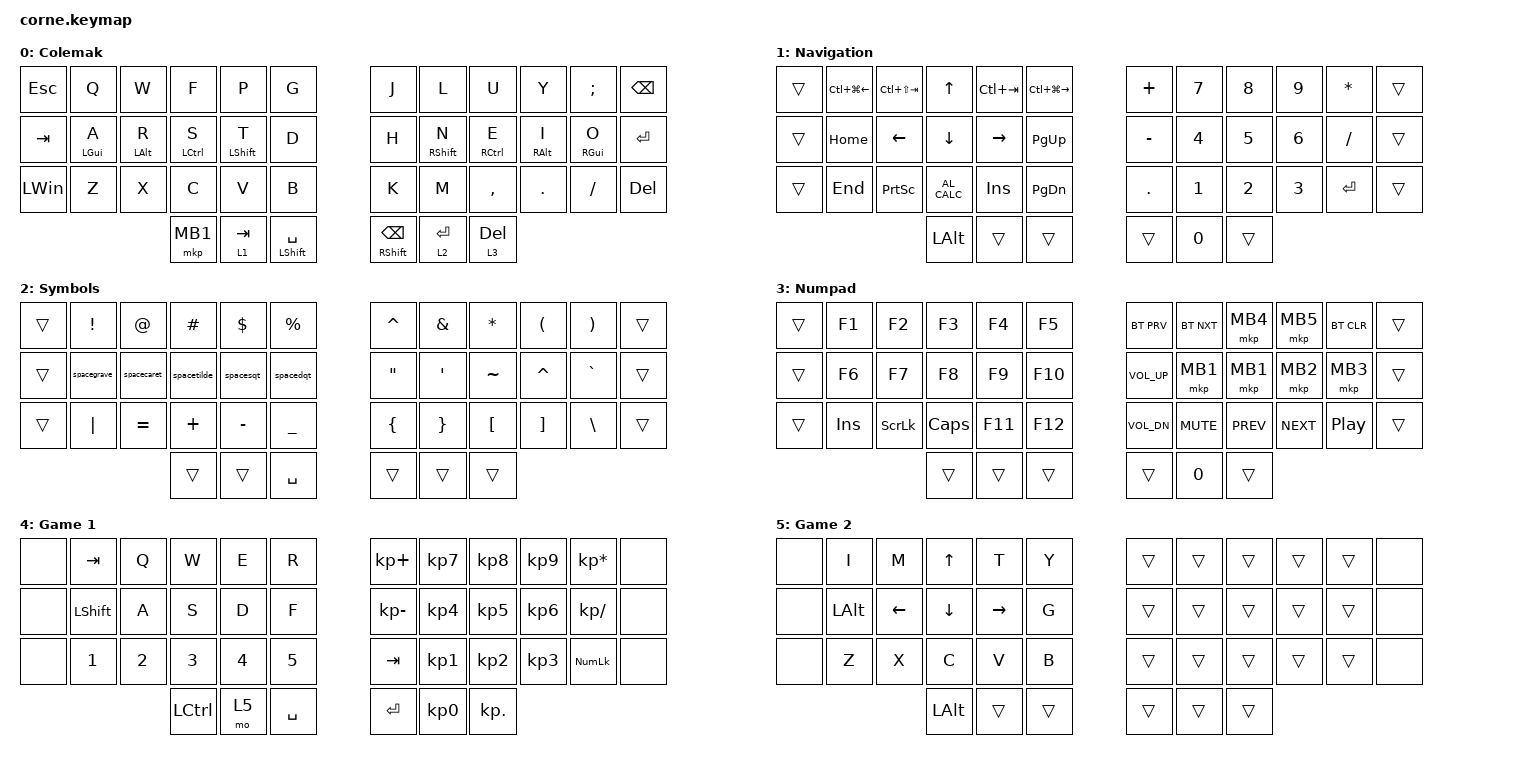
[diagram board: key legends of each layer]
/*
 * Copyright (c) 2020 The ZMK Contributors
 *
 * SPDX-License-Identifier: MIT
 */

#include <dt-bindings/zmk/mouse.h>
#include <behaviors.dtsi>
#include <dt-bindings/zmk/bt.h>
#include <dt-bindings/zmk/keys.h>
#include <dt-bindings/zmk/pointing.h>

&lt { flavor = "hold-preferred"; };

/ {
    behaviors {
        hm: homerow_mods {
            compatible = "zmk,behavior-hold-tap";
            label = "HOMEROW_MODS";
            #binding-cells = <2>;
            tapping-term-ms = <280>;
            quick-tap-ms = <80>;
            flavor = "tap-preferred";
            bindings = <&kp>, <&kp>;
        };

        tm: thumb_mods {
            compatible = "zmk,behavior-hold-tap";
            label = "THUMB_MODS";
            #binding-cells = <2>;
            tapping-term-ms = <200>;
            quick-tap-ms = <0>;
            flavor = "balanced";
            bindings = <&kp>, <&kp>;
        };
    };

    combos {
        compatible = "zmk,combos";

        game1_layer {
            bindings = <&tog 4>;
            key-positions = <1 25>;
            layers = <0 1 2>;
        };

        default_layer {
            bindings = <&to 0>;
            key-positions = <1 25>;
            layers = <4 5>;
        };

        caps_lock {
            bindings = <&kp CAPS>;
            key-positions = <5 6>;
        };

        alt_f4 {
            bindings = <&kp LA(F4)>;
            key-positions = <9 10 8 7>;
            layers = <0 1 2>;
        };

        caps_word {
            bindings = <&caps_word>;
            key-positions = <38 39>;
        };

        backspace {
            bindings = <&kp BSPC>;
            key-positions = <4 5>;
        };

        delete {
            bindings = <&kp DEL>;
            key-positions = <16 17>;
        };

        enter {
            bindings = <&kp RET>;
            key-positions = <29 28>;
        };

        esc {
            bindings = <&kp ESC>;
            key-positions = <1 2>;
            layers = <4 5>;
            slow-release;
        };

        caps {
            bindings = <&kp CAPS>;
            key-positions = <25 26>;
            layers = <4>;
        };
    };

    macros {
        spacedqt: spacedqt {
            compatible = "zmk,behavior-macro";
            label = "spacedqt";
            #binding-cells = <0>;
            bindings = <&kp DQT &kp SPACE>;
        };

        spacesqt: spacesqt {
            compatible = "zmk,behavior-macro";
            label = "spacesqt";
            #binding-cells = <0>;
            bindings = <&kp SQT &kp SPACE>;
        };

        spacetilde: spacetilde {
            compatible = "zmk,behavior-macro";
            label = "spacetilde";
            #binding-cells = <0>;
            bindings = <&kp TILDE &kp SPACE>;
        };

        spacecaret: spacecaret {
            compatible = "zmk,behavior-macro";
            label = "spacecaret";
            #binding-cells = <0>;
            bindings = <&kp CARET &kp SPACE>;
        };

        spacegrave: spacegrave {
            compatible = "zmk,behavior-macro";
            label = "spacegrave";
            #binding-cells = <0>;
            bindings = <&kp GRAVE &kp SPACE>;
        };
    };

    keymap {
        compatible = "zmk,keymap";

        Colemak {
            label = "Colemak";
            bindings = <
&kp ESC   &kp Q       &kp W       &kp F        &kp P        &kp G               &kp J                 &kp L        &kp U        &kp Y       &kp SEMI    &kp BSPC
&kp TAB   &hm LGUI A  &hm LALT R  &hm LCTRL S  &hm LSHFT T  &kp D               &kp H                 &hm RSHFT N  &hm RCTRL E  &hm RALT I  &hm RGUI O  &kp RET
&kp LWIN  &kp Z       &kp X       &kp C        &kp V        &kp B               &kp K                 &kp M        &kp COMMA    &kp DOT     &kp FSLH    &kp DEL
                                  &mkp MB1     &lt 1 TAB    &mt LSHIFT SPACE    &mt RSHIFT BACKSPACE  &lt 2 RET    &lt 3 DEL
            >;
        };

        Navigation {
            label = "Navigation";
            bindings = <
&trans  &kp LC(LG(LEFT))  &kp LC(LS(TAB))  &kp UP         &kp LC(TAB)  &kp LC(LG(RIGHT))    &kp PLUS   &kp N7  &kp N8        &kp N9  &kp ASTRK  &trans
&trans  &kp HOME          &kp LEFT         &kp DOWN       &kp RIGHT    &kp PG_UP            &kp MINUS  &kp N4  &kp NUMBER_5  &kp N6  &kp SLASH  &trans
&trans  &kp END           &kp PSCRN        &kp C_AL_CALC  &kp INS      &kp PAGE_DOWN        &kp DOT    &kp N1  &kp N2        &kp N3  &kp RET    &trans
                                           &kp LEFT_ALT   &trans       &trans               &trans     &kp N0  &trans
            >;
        };

        Symbols {
            label = "Symbols";
            bindings = <
&trans  &kp EXCL     &kp AT       &kp HASH     &kp DLLR   &kp PRCNT    &kp CARET  &kp AMPS  &kp STAR   &kp LPAR   &kp RPAR   &trans
&trans  &spacegrave  &spacecaret  &spacetilde  &spacesqt  &spacedqt    &kp DQT    &kp SQT   &kp TILDE  &kp CARET  &kp GRAVE  &trans
&trans  &kp PIPE     &kp EQUAL    &kp PLUS     &kp MINUS  &kp UNDER    &kp LBRC   &kp RBRC  &kp LBKT   &kp RBKT   &kp BSLH   &trans
                                  &trans       &trans     &kp SPACE    &trans     &trans    &trans
            >;
        };

        Numpad {
            bindings = <
&trans  &kp F1   &kp F2    &kp F3    &kp F4   &kp F5     &bt BT_PRV    &bt BT_NXT  &mkp MB4    &mkp MB5    &bt BT_CLR  &trans
&trans  &kp F6   &kp F7    &kp F8    &kp F9   &kp F10    &kp C_VOL_UP  &mkp MB1    &mkp MB1    &mkp MB2    &mkp MB3    &trans
&trans  &kp INS  &kp SLCK  &kp CAPS  &kp F11  &kp F12    &kp C_VOL_DN  &kp C_MUTE  &kp C_PREV  &kp C_NEXT  &kp C_PP    &trans
                           &trans    &trans   &trans     &trans        &kp N0      &trans
            >;

            label = "Numpad";
        };

        Game_1 {
            label = "Game 1";
            bindings = <
&none  &kp TAB    &kp Q   &kp W      &kp E   &kp R        &kp KP_PLUS   &kp KP_N7  &kp KP_N8   &kp KP_N9  &kp KP_MULTIPLY  &none
&none  &kp LSHFT  &kp A   &kp S      &kp D   &kp F        &kp KP_MINUS  &kp KP_N4  &kp KP_N5   &kp KP_N6  &kp KP_SLASH     &none
&none  &kp N1     &kp N2  &kp N3     &kp N4  &kp N5       &kp TAB       &kp KP_N1  &kp KP_N2   &kp KP_N3  &kp KP_NUMLOCK   &none
                          &kp LCTRL  &mo 5   &kp SPACE    &kp RET       &kp KP_N0  &kp KP_DOT
            >;
        };

        Game_2 {
            label = "Game 2";
            bindings = <
&none  &kp I         &kp M     &kp UP_ARROW  &kp T      &kp Y     &trans  &trans  &trans  &trans  &trans  &none
&none  &kp LEFT_ALT  &kp LEFT  &kp DOWN      &kp RIGHT  &kp G     &trans  &trans  &trans  &trans  &trans  &none
&none  &kp Z         &kp X     &kp C         &kp V      &kp B     &trans  &trans  &trans  &trans  &trans  &none
                               &kp LEFT_ALT  &trans     &trans    &trans  &trans  &trans
            >;
        };
    };

    conditional_layers { compatible = "zmk,conditional-layers"; };
};

&nice_view_spi { cs-gpios = <&pro_micro 0 GPIO_ACTIVE_HIGH>; };
